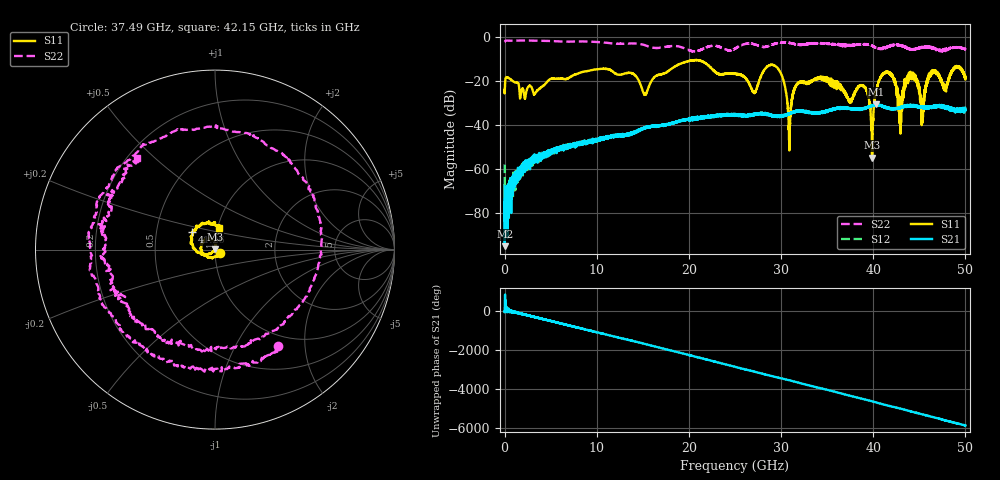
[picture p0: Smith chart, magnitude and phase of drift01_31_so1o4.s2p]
!Created with skrf (http://scikit-rf.org).
# Hz S RI R 50.0
!freq ReS11 ImS11 ReS21 ImS21 ReS12 ImS12 ReS22 ImS22
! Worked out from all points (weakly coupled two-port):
!   10001 points, 300 kHz to 50 GHz, reference 50 ohm
!   highest |S21| = -30.59 dB at 40.33 GHz (marker M1); lowest = -95.4 dB at 15.3 MHz (marker M2)
!   lowest |S11| = -54.9 dB at 39.87 GHz (marker M3), VSWR 1.00, Z = 49.9 + j0.132 ohm
!   |S11| at or under -10 dB: start of sweep to end of sweep
!   |S22| runs from -6.4 to -1.4 dB; largest |S21 - S12| = 0.004
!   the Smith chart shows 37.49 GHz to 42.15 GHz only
!   S11 on the Smith chart (normalised r, x): 37.49 GHz: 1.05, -0.04; 41.26 GHz: 0.76, +0.16; 42.15 GHz: 1.02, +0.25
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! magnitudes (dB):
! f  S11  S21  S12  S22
! 300 kHz  -23.9  -67.8  -58.0  -2.1
! 15.3 MHz  -24.5  -95.4  -84.1  -2.0
! 8.335 GHz  -15.9  -48.5  -48.0  -1.8
! 16.67 GHz  -17.1  -40.3  -40.2  -4.8
! 25 GHz  -16.6  -35.6  -35.7  -5.1
! 27.1 GHz  -25.3  -35.0  -35.1  -3.1
! 29.42 GHz  -13.2  -35.8  -35.9  -2.8
! 30.92 GHz  -44.1  -34.7  -35.0  -2.5
! 31.66 GHz  -21.8  -33.9  -33.6  -3.1
! 33.34 GHz  -19.9  -34.6  -34.4  -2.7
! 37.49 GHz  -29.8  -32.7  -32.5  -3.9
! 38.95 GHz  -22.2  -32.3  -32.5  -3.1
! 39.87 GHz  -54.9  -31.3  -31.4  -3.7
! 40.33 GHz  -24.4  -30.6  -31.0  -4.7
! 41.26 GHz  -15.9  -32.0  -31.6  -4.6
! 41.67 GHz  -16.1  -32.3  -32.5  -4.3
! 42.15 GHz  -18.2  -32.5  -32.6  -3.5
! 42.92 GHz  -36.8  -32.2  -31.9  -3.6
! 44.03 GHz  -16.9  -30.7  -31.4  -5.4
! 45.31 GHz  -39.2  -31.5  -32.3  -4.4
! 46.46 GHz  -15.0  -31.5  -31.6  -4.8
! 50 GHz  -18.5  -33.1  -32.7  -5.3
